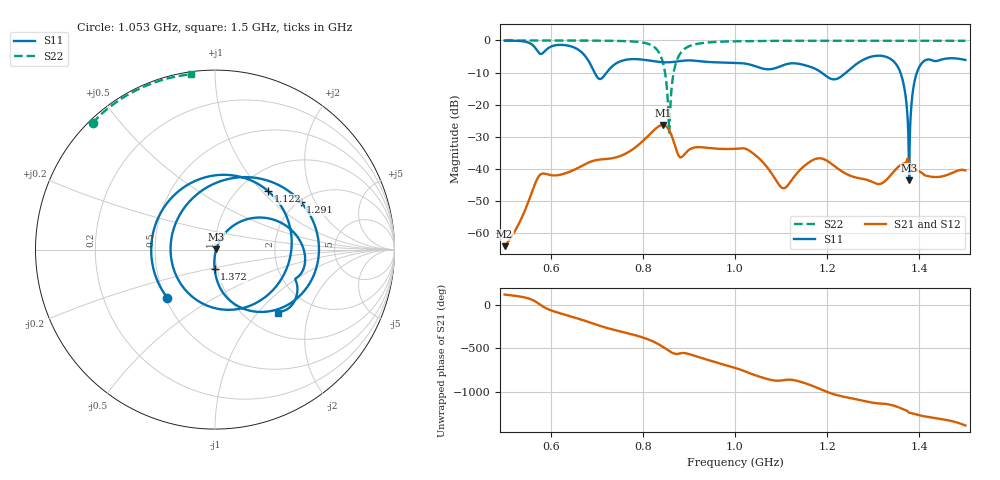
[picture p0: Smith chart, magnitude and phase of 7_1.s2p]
! TOUCHSTONE file generated by CST MICROWAVE STUDIO
! Date and time: Sat Nov 14 20:33:08 2020
! Project name: Scenario_1_Planar_Body_Tissue_Out_of_Line_v2.cst
! Parameters = {dy1=242.2; L_HA=400; Ltissue=700; MT=2.54; Rad_Dielectric=30; Rad_Lower=7.3; Rad_Upper=30; Wtissue=700; a_HA=580; a_WG=246; b_HA=500; b_WG=121; c_HA=0; c_WG=187; d_feed=85; dx1=173; h_feed=15; h_lower=18; h_upper=40; hfat=3; hgap=25; hmuscle=50; hskin=1.5}
! Header version: 2018
! Port assignment regex: !\s*Touchstone port\s*([0-9]+)\s*=\s*(CST MWS port|CST DS port)\s*([0-9]+|Zmin|Zmax)\s*\(\"(.*)\"\)(\s*mode\s*([0-9]+))?.*
! Touchstone port assignment:
! Touchstone port 1 = CST MWS port 1 ("")
! Touchstone port 2 = CST MWS port 2 ("")
# GHz S DB R 50
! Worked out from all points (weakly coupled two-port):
!   1003 points, 500 MHz to 1.5 GHz, reference 50 ohm
!   highest |S21| = -26.30 dB at 843 MHz (marker M1); lowest = -64.0 dB at 500 MHz (marker M2)
!   lowest |S11| = -43.6 dB at 1.378 GHz (marker M3), VSWR 1.01, Z = 50.7 + j0.0855 ohm
!   |S11| at or under -10 dB: 695.2 MHz to 721.3 MHz (26.12 MHz wide, 3.69 % of centre); 1.188 GHz to 1.241 GHz (53.28 MHz wide, 4.39 % of centre); 1.359 GHz to 1.395 GHz (35.76 MHz wide, 2.6 % of centre)
!   |S22| runs from -28.7 to 0.0 dB; largest |S21 - S12| = 1.2e-05
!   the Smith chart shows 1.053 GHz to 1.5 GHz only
!   S11 on the Smith chart (normalised r, x): 1.053 GHz: 0.51, -0.32; 1.122 GHz: 1.34, +1.08; 1.291 GHz: 2.04, +1.55; 1.372 GHz: 0.97, -0.21; 1.5 GHz: 1.38, -1.29
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0.5  -0.06 -121.8  -64.04 121.3  -64.04 121.3  -0.01 151.1
0.624  -1.39 176.3  -41.71 -100.3  -41.71 -100.3  -0.03 142.2
0.667  -3.65 111.9  -39.11 -168.2  -39.11 -168.2  -0.04 138.4
0.694  -9.64 31.5  -37.41 143.8  -37.41 143.8  -0.06 135.5
0.722  -9.88 -104.2  -36.89 96.8  -36.89 96.8  -0.10 132.0
0.766  -5.95 158.1  -34.97 37.4  -34.97 37.4  -0.23 124.0
0.834  -6.67 22.3  -26.77 -91.0  -26.77 -91.0  -3.54 82.4
0.843  -6.79 -0.1  -26.30 -120.1  -26.30 -120.1  -6.61 66.6
0.858  -6.79 -39.9  -28.20 -172.5  -28.20 -172.5  -26.92 -86.4
0.906  -6.24 -179.8  -33.60 146.5  -33.60 146.5  -1.50 164.4
0.944  -6.72 84.7  -33.48 83.7  -33.48 83.6  -0.59 150.3
1  -7.01 -23.7  -33.75 -2.7  -33.75 -2.7  -0.27 140.1
1.053  -8.46 -134.5  -36.83 -104.4  -36.83 -104.4  -0.17 134.1
1.122  -7.12 47.8  -43.67 -140.1  -43.67 -140.1  -0.11 127.9
1.167  -8.39 -47.5  -37.38 151.8  -37.38 151.8  -0.10 124.2
1.219  -12.05 168.3  -39.46 46.5  -39.46 46.5  -0.09 120.3
1.291  -5.25 29.2  -43.62 -36.5  -43.62 -36.5  -0.09 114.8
1.334  -5.46 -30.2  -42.58 -64.5  -42.58 -64.5  -0.08 111.5
1.372  -19.43 -91.1  -37.74 -133.0  -37.74 -133.0  -0.09 108.6
1.378  -43.56 7.3  -38.40 -158.1  -38.40 -158.1  -0.09 108.1
1.405  -7.14 14.3  -41.17 165.2  -41.17 165.2  -0.09 106.0
1.5  -6.08 -45.0  -40.46 53.7  -40.46 53.7  -0.13 97.9
